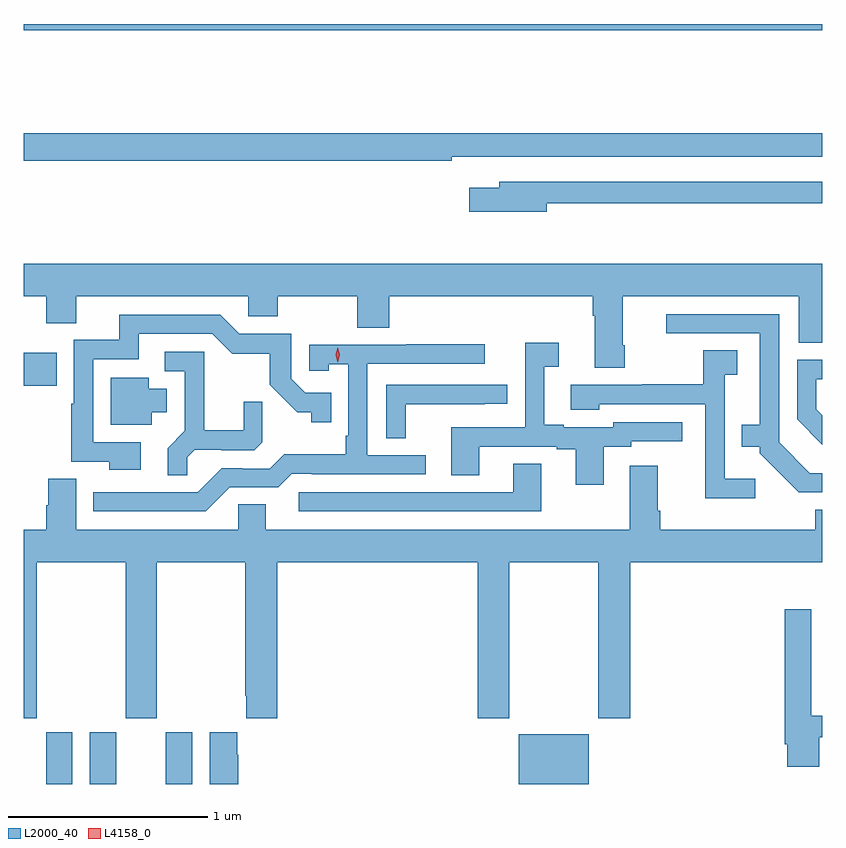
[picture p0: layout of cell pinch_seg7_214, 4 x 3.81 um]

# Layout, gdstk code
import gdstk
lib = gdstk.Library(unit=1e-6, precision=1e-09)
def R(c, l, rs):  # rectangles x0, y0, x1, y1
    for r in rs: c.add(gdstk.rectangle(r[:2], r[2:], *l))
def P(c, l, *ps):  # polygons
    for p in ps: c.add(gdstk.Polygon(p, *l))
L2000_40 = (2000, 40)
L4158_0 = (4158, 0)

pinch_seg7_214 = lib.new_cell('pinch_seg7_214')
R(pinch_seg7_214, L2000_40, [(634.745,1078.095,634.876,1078.354), (634.964,1078.095,635.095,1078.354), (635.345,1078.095,635.476,1078.354), (637.112,1078.095,637.462,1078.345), (634.632,1080.088,634.799,1080.253), (634.632,1081.868,638.632,1081.9)])
P(pinch_seg7_214, L2000_40, [(636.776,1081.236),(638.632,1081.236),(638.632,1081.352),(634.632,1081.352),(634.632,1081.216),(636.776,1081.216)],
  [(637.252,1081.002),(638.632,1081.002),(638.632,1081.11),(637.013,1081.11),(637.013,1081.081),(636.864,1081.081),(636.864,1080.959),(637.252,1080.959)],
  [(637.641,1080.292),(637.633,1080.292),(637.633,1080.536),(638.513,1080.536),(638.513,1080.304),(638.632,1080.304),(638.632,1080.7),(634.632,1080.7),(634.632,1080.536),(634.745,1080.536),(634.745,1080.403),(634.897,1080.403),(634.897,1080.536),(635.757,1080.536),(635.757,1080.438),(635.904,1080.438),(635.904,1080.536),(636.304,1080.536),(636.304,1080.379),(636.464,1080.379),(636.464,1080.536),(637.481,1080.536),(637.481,1080.44),(637.493,1080.44),(637.493,1080.18),(637.641,1080.18)],
  [(638.632,1079.652),(638.568,1079.652),(638.415,1079.805),(638.415,1080.447),(637.851,1080.447),(637.851,1080.351),(638.318,1080.351),(638.318,1079.893),(638.227,1079.893),(638.227,1079.783),(638.319,1079.783),(638.319,1079.751),(638.514,1079.556),(638.632,1079.556)],
  [(635.218,1079.805),(634.98,1079.805),(634.98,1080.222),(635.209,1080.222),(635.209,1080.348),(635.577,1080.348),(635.676,1080.25),(635.865,1080.25),(635.865,1080.094),(636.002,1079.957),(636.072,1079.957),(636.072,1079.907),(636.173,1079.907),(636.173,1080.054),(636.042,1080.054),(635.973,1080.123),(635.973,1080.348),(635.712,1080.348),(635.616,1080.444),(635.111,1080.444),(635.111,1080.318),(634.884,1080.318),(634.884,1079.999),(634.872,1079.999),(634.872,1079.709),(635.062,1079.709),(635.062,1079.669),(635.218,1079.669)],
  [(637.537,1079.784),(637.674,1079.784),(637.674,1079.811),(637.93,1079.811),(637.93,1079.907),(637.584,1079.907),(637.584,1079.88),(637.336,1079.88),(637.336,1079.893),(637.24,1079.893),(637.24,1080.184),(637.312,1080.184),(637.312,1080.304),(637.143,1080.304),(637.143,1079.88),(636.773,1079.88),(636.773,1079.641),(636.913,1079.641),(636.913,1079.784),(637.301,1079.784),(637.301,1079.772),(637.397,1079.772),(637.397,1079.592),(637.537,1079.592)],
  [(635.664,1079.58),(635.907,1079.58),(635.976,1079.649),(636.076,1079.649),(636.076,1079.646),(636.646,1079.646),(636.646,1079.742),(636.354,1079.742),(636.354,1080.198),(636.94,1080.198),(636.94,1080.297),(636.547,1080.297),(636.547,1080.294),(636.063,1080.294),(636.063,1080.165),(636.159,1080.165),(636.159,1080.197),(636.258,1080.197),(636.258,1079.839),(636.246,1079.839),(636.246,1079.746),(635.938,1079.746),(635.865,1079.673),(635.726,1079.673),(635.726,1079.676),(635.625,1079.676),(635.505,1079.556),(634.982,1079.556),(634.982,1079.46),(635.544,1079.46)],
  [(638.296,1079.623),(638.142,1079.623),(638.142,1080.145),(638.206,1080.145),(638.206,1080.266),(638.034,1080.266),(638.034,1080.096),(637.729,1080.096),(637.729,1080.093),(637.371,1080.093),(637.371,1079.969),(637.515,1079.969),(637.515,1079.997),(638.046,1079.997),(638.046,1079.765),(638.044,1079.765),(638.044,1079.525),(638.296,1079.525)],
  [(635.451,1079.732),(635.488,1079.769),(635.622,1079.769),(635.622,1079.766),(635.787,1079.766),(635.828,1079.807),(635.828,1080.009),(635.734,1080.009),(635.734,1079.866),(635.537,1079.866),(635.537,1080.258),(635.34,1080.258),(635.34,1080.162),(635.439,1080.162),(635.439,1079.863),(635.353,1079.777),(635.353,1079.641),(635.451,1079.641)],
  [(638.632,1079.942),(638.602,1079.972),(638.602,1080.122),(638.632,1080.122),(638.632,1080.219),(638.505,1080.219),(638.505,1079.921),(638.632,1079.794)],
  [(635.275,1079.957),(635.35,1079.957),(635.35,1080.073),(635.26,1080.073),(635.26,1080.13),(635.069,1080.13),(635.069,1079.894),(635.275,1079.894)],
  [(636.546,1079.997),(636.941,1079.997),(636.941,1079.998),(637.054,1079.998),(637.054,1080.093),(636.447,1080.093),(636.447,1079.827),(636.546,1079.827)],
  [(637.225,1079.699),(637.085,1079.699),(637.085,1079.556),(636.009,1079.556),(636.009,1079.46),(637.225,1079.46)],
  [(634.698,1079.204),(635.143,1079.204),(635.143,1078.425),(635.298,1078.425),(635.298,1079.204),(635.743,1079.204),(635.743,1078.537),(635.747,1078.537),(635.747,1078.425),(635.903,1078.425),(635.903,1079.204),(636.905,1079.204),(636.905,1078.425),(637.065,1078.425),(637.065,1079.204),(637.51,1079.204),(637.51,1078.425),(637.67,1078.425),(637.67,1079.204),(638.632,1079.204),(638.632,1079.467),(638.597,1079.467),(638.597,1079.368),(637.82,1079.368),(637.82,1079.464),(637.807,1079.464),(637.807,1079.689),(637.667,1079.689),(637.667,1079.368),(635.845,1079.368),(635.845,1079.495),(635.706,1079.495),(635.706,1079.368),(634.897,1079.368),(634.897,1079.624),(634.757,1079.624),(634.757,1079.49),(634.745,1079.49),(634.745,1079.368),(634.632,1079.368),(634.632,1078.425),(634.698,1078.425)],
  [(638.617,1078.329),(638.632,1078.329),(638.632,1078.437),(638.575,1078.437),(638.575,1078.969),(638.444,1078.969),(638.444,1078.294),(638.456,1078.294),(638.456,1078.182),(638.617,1078.182)],
  [(635.708,1078.241),(635.701,1078.241),(635.701,1078.354),(635.564,1078.354),(635.564,1078.095),(635.708,1078.095)])
P(pinch_seg7_214, L4158_0, [(636.204,1080.207),(636.204,1080.207),(636.195,1080.243),(636.205,1080.279),(636.205,1080.279),(636.206,1080.279),(636.215,1080.243),(636.205,1080.207)])

lib.write_gds('pinch_seg7_214.gds')
